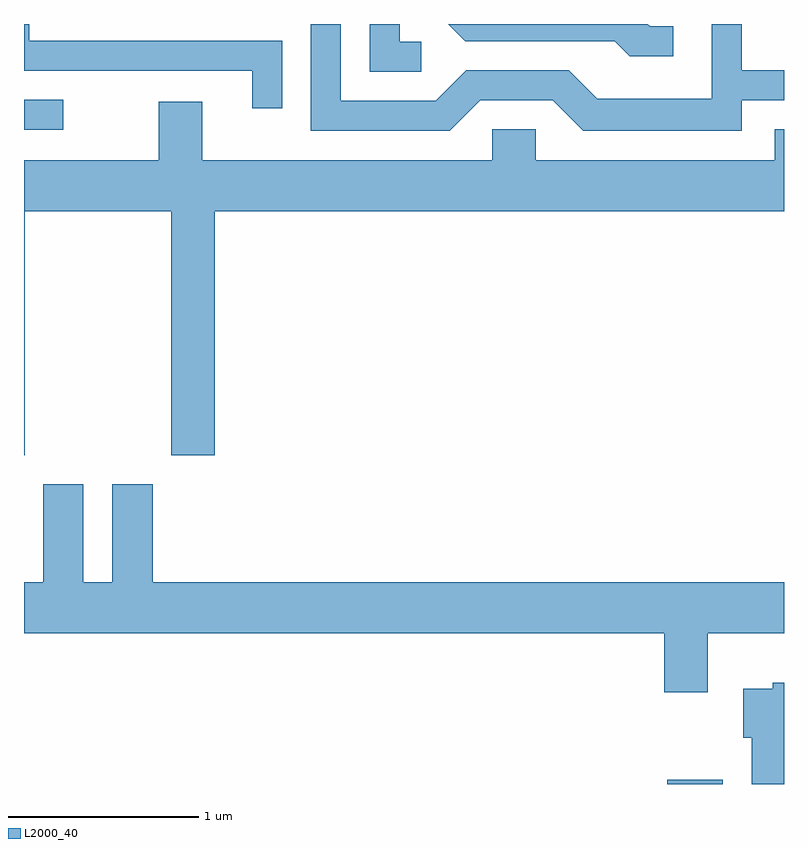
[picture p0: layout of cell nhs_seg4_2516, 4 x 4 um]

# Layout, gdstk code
import gdstk
lib = gdstk.Library(unit=1e-6, precision=1e-09)
def R(c, l, rs):  # rectangles x0, y0, x1, y1
    for r in rs: c.add(gdstk.rectangle(r[:2], r[2:], *l))
def P(c, l, *ps):  # polygons
    for p in ps: c.add(gdstk.Polygon(p, *l))
L2000_40 = (2000, 40)

nhs_seg4_2516 = lib.new_cell('nhs_seg4_2516')
R(nhs_seg4_2516, L2000_40, [(262.996,1253.982,263.289,1254.004), (259.611,1257.426,259.818,1257.584)])
P(nhs_seg4_2516, L2000_40, [(263.028,1257.969),(262.907,1257.969),(262.894,1257.982),(261.843,1257.982),(261.933,1257.891),(262.719,1257.891),(262.799,1257.811),(263.028,1257.811)],
  [(262.012,1257.581),(262.394,1257.581),(262.554,1257.421),(263.389,1257.421),(263.389,1257.581),(263.611,1257.581),(263.611,1257.739),(263.389,1257.739),(263.389,1257.982),(263.231,1257.982),(263.231,1257.589),(262.627,1257.589),(262.477,1257.739),(261.939,1257.739),(261.779,1257.579),(261.279,1257.579),(261.279,1257.982),(261.121,1257.982),(261.121,1257.421),(261.852,1257.421)],
  [(261.703,1257.889),(261.589,1257.889),(261.589,1257.982),(261.431,1257.982),(261.431,1257.731),(261.703,1257.731)],
  [(260.969,1257.894),(259.639,1257.894),(259.639,1257.982),(259.611,1257.982),(259.611,1257.736),(260.811,1257.736),(260.811,1257.538),(260.969,1257.538)],
  [(259.614,1256.996),(260.386,1256.996),(260.386,1255.711),(260.614,1255.711),(260.614,1256.996),(263.611,1256.996),(263.611,1257.429),(263.561,1257.429),(263.561,1257.264),(262.304,1257.264),(262.304,1257.429),(262.076,1257.429),(262.076,1257.264),(260.549,1257.264),(260.549,1257.574),(260.321,1257.574),(260.321,1257.264),(259.611,1257.264),(259.611,1255.711),(259.614,1255.711)],
  [(263.209,1254.776),(263.611,1254.776),(263.611,1255.044),(260.289,1255.044),(260.289,1255.559),(260.076,1255.559),(260.076,1255.044),(259.924,1255.044),(259.924,1255.559),(259.711,1255.559),(259.711,1255.044),(259.611,1255.044),(259.611,1254.776),(262.981,1254.776),(262.981,1254.466),(263.209,1254.466)],
  [(263.611,1254.514),(263.551,1254.514),(263.551,1254.484),(263.396,1254.484),(263.396,1254.226),(263.441,1254.226),(263.441,1253.982),(263.611,1253.982)])

lib.write_gds('nhs_seg4_2516.gds')
